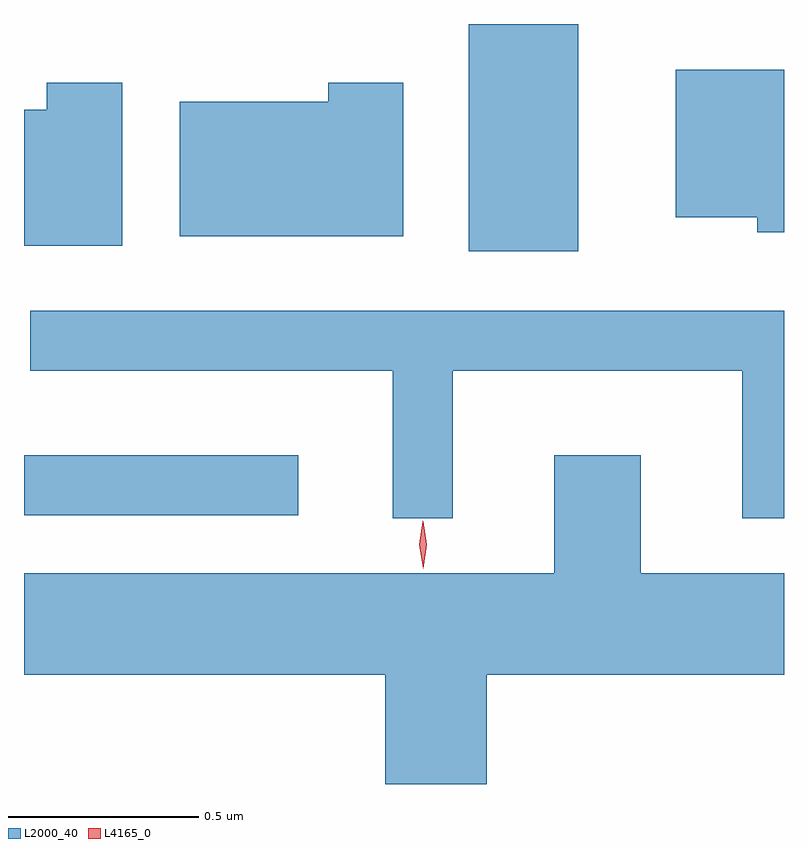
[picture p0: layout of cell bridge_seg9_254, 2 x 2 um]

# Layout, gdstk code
import gdstk
lib = gdstk.Library(unit=1e-6, precision=1e-09)
def R(c, l, rs):  # rectangles x0, y0, x1, y1
    for r in rs: c.add(gdstk.rectangle(r[:2], r[2:], *l))
def P(c, l, *ps):  # polygons
    for p in ps: c.add(gdstk.Polygon(p, *l))
L2000_40 = (2000, 40)
L4165_0 = (4165, 0)

bridge_seg9_254 = lib.new_cell('bridge_seg9_254')
R(bridge_seg9_254, L2000_40, [(1372.966,1963.376,1373.688,1963.534), (1374.136,1964.071,1374.424,1964.669)])
P(bridge_seg9_254, L2000_40, [(1374.966,1964.549),(1374.681,1964.549),(1374.681,1964.161),(1374.896,1964.161),(1374.896,1964.121),(1374.966,1964.121)],
  [(1373.964,1964.514),(1373.766,1964.514),(1373.766,1964.464),(1373.376,1964.464),(1373.376,1964.111),(1373.964,1964.111)],
  [(1373.224,1964.514),(1373.026,1964.514),(1373.026,1964.444),(1372.966,1964.444),(1372.966,1964.086),(1373.224,1964.086)],
  [(1374.094,1963.756),(1374.856,1963.756),(1374.856,1963.368),(1374.966,1963.368),(1374.966,1963.914),(1372.983,1963.914),(1372.983,1963.756),(1373.936,1963.756),(1373.936,1963.368),(1374.094,1963.368)],
  [(1374.184,1962.956),(1374.966,1962.956),(1374.966,1963.224),(1374.589,1963.224),(1374.589,1963.534),(1374.361,1963.534),(1374.361,1963.224),(1372.966,1963.224),(1372.966,1962.956),(1373.916,1962.956),(1373.916,1962.669),(1374.184,1962.669)])
P(bridge_seg9_254, L4165_0, [(1374.016,1963.235),(1374.016,1963.236),(1374.006,1963.298),(1374.015,1963.361),(1374.015,1963.362),(1374.016,1963.361),(1374.026,1963.298),(1374.017,1963.236)])

lib.write_gds('bridge_seg9_254.gds')
